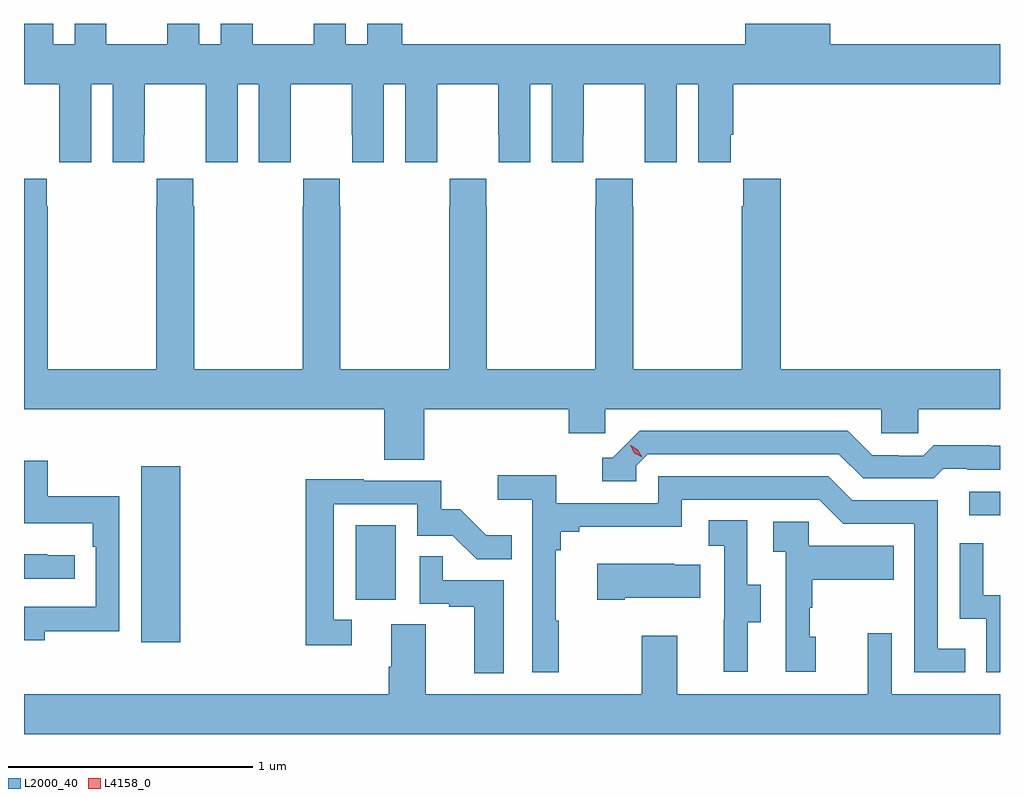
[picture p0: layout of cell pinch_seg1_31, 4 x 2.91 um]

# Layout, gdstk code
import gdstk
lib = gdstk.Library(unit=1e-6, precision=1e-09)
def R(c, l, rs):  # rectangles x0, y0, x1, y1
    for r in rs: c.add(gdstk.rectangle(r[:2], r[2:], *l))
def P(c, l, *ps):  # polygons
    for p in ps: c.add(gdstk.Polygon(p, *l))
L2000_40 = (2000, 40)
L4158_0 = (4158, 0)

pinch_seg1_31 = lib.new_cell('pinch_seg1_31')
R(pinch_seg1_31, L2000_40, [(1128.365,566.76,1128.526,567.481), (1129.244,566.934,1129.408,567.241), (1131.759,567.282,1131.885,567.378)])
P(pinch_seg1_31, L2000_40, [(1128.604,569.295),(1128.473,569.295),(1128.473,569.212),(1128.223,569.212),(1128.223,569.295),(1128.092,569.295),(1128.092,569.212),(1128.004,569.212),(1128.004,569.295),(1127.885,569.295),(1127.885,569.048),(1128.029,569.048),(1128.029,568.84),(1128.03,568.84),(1128.03,568.728),(1128.16,568.728),(1128.16,569.048),(1128.248,569.048),(1128.248,568.728),(1128.378,568.728),(1128.378,568.84),(1128.379,568.84),(1128.379,569.048),(1128.629,569.048),(1128.629,568.84),(1128.63,568.84),(1128.63,568.728),(1128.76,568.728),(1128.76,569.048),(1128.848,569.048),(1128.848,568.728),(1128.978,568.728),(1128.978,568.84),(1128.979,568.84),(1128.979,569.048),(1129.229,569.048),(1129.229,568.84),(1129.23,568.84),(1129.23,568.728),(1129.36,568.728),(1129.36,569.048),(1129.448,569.048),(1129.448,568.728),(1129.578,568.728),(1129.578,568.84),(1129.579,568.84),(1129.579,569.048),(1129.829,569.048),(1129.829,568.84),(1129.83,568.84),(1129.83,568.728),(1129.96,568.728),(1129.96,569.048),(1130.048,569.048),(1130.048,568.728),(1130.178,568.728),(1130.178,568.84),(1130.179,568.84),(1130.179,569.048),(1130.429,569.048),(1130.429,568.84),(1130.43,568.84),(1130.43,568.728),(1130.56,568.728),(1130.56,569.048),(1130.648,569.048),(1130.648,568.728),(1130.782,568.728),(1130.782,568.84),(1130.792,568.84),(1130.792,569.048),(1131.885,569.048),(1131.885,569.212),(1131.19,569.212),(1131.19,569.295),(1130.84,569.295),(1130.84,569.212),(1129.436,569.212),(1129.436,569.295),(1129.292,569.295),(1129.292,569.212),(1129.204,569.212),(1129.204,569.295),(1129.073,569.295),(1129.073,569.212),(1128.823,569.212),(1128.823,569.295),(1128.692,569.295),(1128.692,569.212),(1128.604,569.212)],
  [(1129.526,567.716),(1130.117,567.716),(1130.117,567.618),(1130.268,567.618),(1130.268,567.716),(1131.399,567.716),(1131.399,567.618),(1131.549,567.618),(1131.549,567.716),(1131.885,567.716),(1131.885,567.88),(1130.987,567.88),(1130.987,568.66),(1130.833,568.66),(1130.833,568.547),(1130.827,568.547),(1130.827,567.88),(1130.382,567.88),(1130.382,568.547),(1130.379,568.547),(1130.379,568.66),(1130.229,568.66),(1130.229,568.547),(1130.227,568.547),(1130.227,567.88),(1129.782,567.88),(1129.782,568.547),(1129.779,568.547),(1129.779,568.66),(1129.629,568.66),(1129.629,568.547),(1129.627,568.547),(1129.627,567.88),(1129.182,567.88),(1129.182,568.547),(1129.179,568.547),(1129.179,568.66),(1129.029,568.66),(1129.029,568.547),(1129.027,568.547),(1129.027,567.88),(1128.582,567.88),(1128.582,568.547),(1128.579,568.547),(1128.579,568.66),(1128.429,568.66),(1128.429,568.547),(1128.427,568.547),(1128.427,567.88),(1127.982,567.88),(1127.982,568.547),(1127.979,568.547),(1127.979,568.66),(1127.885,568.66),(1127.885,567.716),(1129.361,567.716),(1129.361,567.508),(1129.526,567.508)],
  [(1130.394,567.483),(1130.442,567.531),(1131.225,567.531),(1131.324,567.432),(1131.613,567.432),(1131.652,567.471),(1131.751,567.471),(1131.751,567.468),(1131.885,567.468),(1131.885,567.565),(1131.846,567.565),(1131.846,567.568),(1131.613,567.568),(1131.571,567.525),(1131.468,567.525),(1131.468,567.528),(1131.361,567.528),(1131.262,567.627),(1130.409,567.627),(1130.298,567.516),(1130.255,567.516),(1130.255,567.42),(1130.394,567.42)],
  [(1127.971,566.806),(1128.276,566.806),(1128.276,567.358),(1127.983,567.358),(1127.983,567.504),(1127.885,567.504),(1127.885,567.248),(1128.167,567.248),(1128.167,567.152),(1128.18,567.152),(1128.18,566.907),(1127.885,566.907),(1127.885,566.768),(1127.971,566.768)],
  [(1130.077,566.849),(1130.065,566.849),(1130.065,567.137),(1130.084,567.137),(1130.084,567.214),(1130.161,567.214),(1130.161,567.233),(1130.58,567.233),(1130.58,567.345),(1131.144,567.345),(1131.243,567.246),(1131.534,567.246),(1131.534,566.637),(1131.743,566.637),(1131.743,566.733),(1131.63,566.733),(1131.63,567.342),(1131.28,567.342),(1131.181,567.441),(1130.484,567.441),(1130.484,567.33),(1130.066,567.33),(1130.066,567.446),(1129.827,567.446),(1129.827,567.344),(1129.968,567.344),(1129.968,566.637),(1130.077,566.637)],
  [(1129.228,566.853),(1129.155,566.853),(1129.155,567.327),(1129.497,567.327),(1129.497,567.198),(1129.642,567.198),(1129.74,567.1),(1129.883,567.1),(1129.883,567.199),(1129.779,567.199),(1129.672,567.306),(1129.596,567.306),(1129.596,567.423),(1129.277,567.423),(1129.277,567.428),(1129.039,567.428),(1129.039,566.748),(1129.228,566.748)],
  [(1130.851,566.842),(1130.905,566.842),(1130.905,566.997),(1130.85,566.997),(1130.85,567.26),(1130.691,567.26),(1130.691,567.157),(1130.754,567.157),(1130.754,566.853),(1130.753,566.853),(1130.753,566.64),(1130.851,566.64)],
  [(1131.13,566.784),(1131.105,566.784),(1131.105,566.903),(1131.115,566.903),(1131.115,567.017),(1131.449,567.017),(1131.449,567.157),(1131.102,567.157),(1131.102,567.255),(1130.955,567.255),(1130.955,567.131),(1131.006,567.131),(1131.006,566.64),(1131.13,566.64)],
  [(1131.885,566.954),(1131.816,566.954),(1131.816,567.166),(1131.72,567.166),(1131.72,566.856),(1131.828,566.856),(1131.828,566.637),(1131.885,566.637)],
  [(1128.094,567.117),(1127.981,567.117),(1127.981,567.122),(1127.885,567.122),(1127.885,567.021),(1128.094,567.021)],
  [(1129.852,567.015),(1129.601,567.015),(1129.601,567.113),(1129.506,567.113),(1129.506,566.919),(1129.627,566.919),(1129.627,566.907),(1129.73,566.907),(1129.73,566.633),(1129.852,566.633)],
  [(1130.347,566.942),(1130.657,566.942),(1130.657,567.079),(1130.549,567.079),(1130.549,567.082),(1130.235,567.082),(1130.235,566.935),(1130.347,566.935)],
  [(1131.885,566.548),(1131.441,566.548),(1131.441,566.797),(1131.344,566.797),(1131.344,566.548),(1130.563,566.548),(1130.563,566.788),(1130.416,566.788),(1130.416,566.548),(1129.531,566.548),(1129.531,566.834),(1129.391,566.834),(1129.391,566.66),(1129.379,566.66),(1129.379,566.548),(1127.885,566.548),(1127.885,566.384),(1131.885,566.384)])
P(pinch_seg1_31, L4158_0, [(1130.418,567.518),(1130.387,567.536),(1130.37,567.568),(1130.37,567.569),(1130.371,567.569),(1130.401,567.55),(1130.418,567.518),(1130.418,567.518)])

lib.write_gds('pinch_seg1_31.gds')
